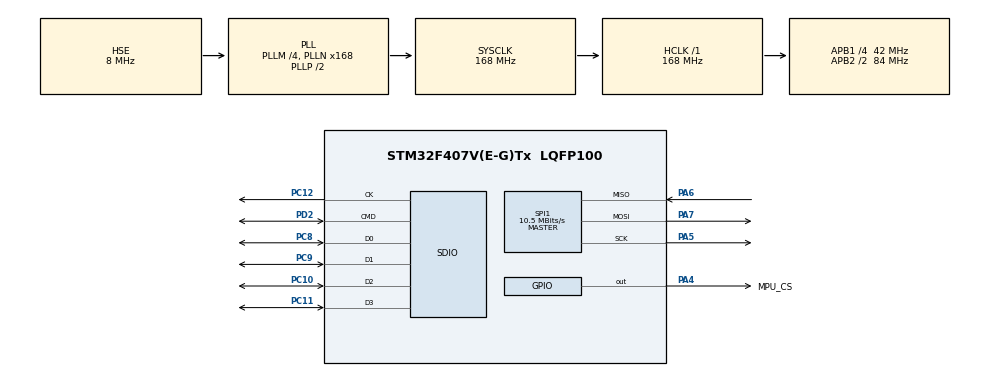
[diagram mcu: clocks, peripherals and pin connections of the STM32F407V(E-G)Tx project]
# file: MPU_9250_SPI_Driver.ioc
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Dma.MEMTOMEM.2.Direction=DMA_MEMORY_TO_MEMORY
Dma.MEMTOMEM.2.FIFOMode=DMA_FIFOMODE_ENABLE
Dma.MEMTOMEM.2.FIFOThreshold=DMA_FIFO_THRESHOLD_FULL
Dma.MEMTOMEM.2.Instance=DMA2_Stream1
Dma.MEMTOMEM.2.MemBurst=DMA_MBURST_SINGLE
Dma.MEMTOMEM.2.MemDataAlignment=DMA_MDATAALIGN_BYTE
Dma.MEMTOMEM.2.MemInc=DMA_MINC_ENABLE
Dma.MEMTOMEM.2.Mode=DMA_NORMAL
Dma.MEMTOMEM.2.PeriphBurst=DMA_PBURST_SINGLE
Dma.MEMTOMEM.2.PeriphDataAlignment=DMA_PDATAALIGN_HALFWORD
Dma.MEMTOMEM.2.PeriphInc=DMA_PINC_ENABLE
Dma.MEMTOMEM.2.Priority=DMA_PRIORITY_MEDIUM
Dma.Request0=SDIO_RX
Dma.Request1=SDIO_TX
Dma.Request2=MEMTOMEM
Dma.Request3=SPI1_RX
Dma.Request4=SPI1_TX
Dma.SDIO_RX.0.Direction=DMA_PERIPH_TO_MEMORY
Dma.SDIO_RX.0.FIFOMode=DMA_FIFOMODE_ENABLE
Dma.SDIO_RX.0.FIFOThreshold=DMA_FIFO_THRESHOLD_FULL
Dma.SDIO_RX.0.Instance=DMA2_Stream3
Dma.SDIO_RX.0.MemBurst=DMA_MBURST_INC4
Dma.SDIO_RX.0.MemDataAlignment=DMA_MDATAALIGN_WORD
Dma.SDIO_RX.0.MemInc=DMA_MINC_ENABLE
Dma.SDIO_RX.0.Mode=DMA_PFCTRL
Dma.SDIO_RX.0.PeriphBurst=DMA_PBURST_INC4
Dma.SDIO_RX.0.PeriphDataAlignment=DMA_PDATAALIGN_WORD
Dma.SDIO_RX.0.PeriphInc=DMA_PINC_DISABLE
Dma.SDIO_RX.0.Priority=DMA_PRIORITY_LOW
Dma.SDIO_TX.1.Direction=DMA_MEMORY_TO_PERIPH
Dma.SDIO_TX.1.FIFOMode=DMA_FIFOMODE_ENABLE
Dma.SDIO_TX.1.FIFOThreshold=DMA_FIFO_THRESHOLD_FULL
Dma.SDIO_TX.1.Instance=DMA2_Stream6
Dma.SDIO_TX.1.MemBurst=DMA_MBURST_INC4
Dma.SDIO_TX.1.MemDataAlignment=DMA_MDATAALIGN_WORD
Dma.SDIO_TX.1.MemInc=DMA_MINC_ENABLE
Dma.SDIO_TX.1.Mode=DMA_PFCTRL
Dma.SDIO_TX.1.PeriphBurst=DMA_PBURST_INC4
Dma.SDIO_TX.1.PeriphDataAlignment=DMA_PDATAALIGN_WORD
Dma.SDIO_TX.1.PeriphInc=DMA_PINC_DISABLE
Dma.SDIO_TX.1.Priority=DMA_PRIORITY_MEDIUM
Dma.SPI1_RX.3.Direction=DMA_PERIPH_TO_MEMORY
Dma.SPI1_RX.3.FIFOMode=DMA_FIFOMODE_ENABLE
Dma.SPI1_RX.3.FIFOThreshold=DMA_FIFO_THRESHOLD_FULL
Dma.SPI1_RX.3.Instance=DMA2_Stream0
Dma.SPI1_RX.3.MemBurst=DMA_MBURST_SINGLE
Dma.SPI1_RX.3.MemDataAlignment=DMA_MDATAALIGN_HALFWORD
Dma.SPI1_RX.3.MemInc=DMA_MINC_ENABLE
Dma.SPI1_RX.3.Mode=DMA_CIRCULAR
Dma.SPI1_RX.3.PeriphBurst=DMA_PBURST_SINGLE
Dma.SPI1_RX.3.PeriphDataAlignment=DMA_PDATAALIGN_HALFWORD
Dma.SPI1_RX.3.PeriphInc=DMA_PINC_DISABLE
Dma.SPI1_RX.3.Priority=DMA_PRIORITY_LOW
Dma.SPI1_TX.4.Direction=DMA_MEMORY_TO_PERIPH
Dma.SPI1_TX.4.FIFOMode=DMA_FIFOMODE_ENABLE
Dma.SPI1_TX.4.FIFOThreshold=DMA_FIFO_THRESHOLD_FULL
Dma.SPI1_TX.4.Instance=DMA2_Stream5
Dma.SPI1_TX.4.MemBurst=DMA_MBURST_SINGLE
Dma.SPI1_TX.4.MemDataAlignment=DMA_MDATAALIGN_HALFWORD
Dma.SPI1_TX.4.MemInc=DMA_MINC_ENABLE
Dma.SPI1_TX.4.Mode=DMA_CIRCULAR
Dma.SPI1_TX.4.PeriphBurst=DMA_PBURST_SINGLE
Dma.SPI1_TX.4.PeriphDataAlignment=DMA_PDATAALIGN_HALFWORD
Dma.SPI1_TX.4.PeriphInc=DMA_PINC_DISABLE
Dma.SPI1_TX.4.Priority=DMA_PRIORITY_LOW
FATFS.USE_DMA_CODE_SD=1
FATFS._MAX_SS=4096
FREERTOS.BinarySemaphores01=DataReady,Dynamic,NULL;ConvCplt,Dynamic,NULL
FREERTOS.Tasks01=MPU_Start,32,1024,MPUStart,Default,NULL,Dynamic,NULL,NULL;LED_Blink,8,128,LEDStart,Default,NULL,Dynamic,NULL,NULL;SD_Log,31,2048,Log_Start,Default,NULL,Dynamic,NULL,NULL
FREERTOS.configENABLE_FPU=1
FREERTOS.configGENERATE_RUN_TIME_STATS=1
FREERTOS.configRECORD_STACK_HIGH_ADDRESS=1
FREERTOS.configUSE_NEWLIB_REENTRANT=1
FREERTOS.configUSE_STATS_FORMATTING_FUNCTIONS=1
Mcu.Family=STM32F4
Mcu.Name=STM32F407V(E-G)Tx
Mcu.Package=LQFP100
NVIC.DMA2_Stream0_IRQn=true\:5\:0\:false\:false\:true\:true\:false\:true
NVIC.DMA2_Stream3_IRQn=true\:5\:0\:false\:false\:true\:true\:false\:true
NVIC.DMA2_Stream5_IRQn=true\:5\:0\:false\:false\:true\:true\:false\:true
NVIC.DMA2_Stream6_IRQn=true\:5\:0\:false\:false\:true\:true\:false\:true
NVIC.PriorityGroup=NVIC_PRIORITYGROUP_4
NVIC.SDIO_IRQn=true\:5\:0\:false\:false\:true\:true\:true\:true
NVIC.SPI1_IRQn=true\:5\:0\:false\:false\:true\:true\:true\:true
NVIC.TIM8_UP_TIM13_IRQn=true\:15\:0\:false\:false\:true\:false\:false\:true
NVIC.TimeBase=TIM8_UP_TIM13_IRQn
NVIC.TimeBaseIP=TIM13
PA13.Mode=Trace_Asynchronous_SW
PA13.Signal=SYS_JTMS-SWDIO
PA14.Mode=Trace_Asynchronous_SW
PA14.Signal=SYS_JTCK-SWCLK
PA4.GPIO_Label=MPU_CS
PA4.GPIO_PuPd=GPIO_PULLUP
PA4.GPIO_Speed=GPIO_SPEED_FREQ_HIGH
PA4.Signal=GPIO_Output
PA5.Mode=Full_Duplex_Master
PA5.Signal=SPI1_SCK
PA6.Mode=Full_Duplex_Master
PA6.Signal=SPI1_MISO
PA7.Mode=Full_Duplex_Master
PA7.Signal=SPI1_MOSI
PB3.Mode=Trace_Asynchronous_SW
PB3.Signal=SYS_JTDO-SWO
PC10.GPIO_PuPd=GPIO_PULLUP
PC10.Mode=SD_4_bits_Wide_bus
PC10.Signal=SDIO_D2
PC11.GPIO_PuPd=GPIO_PULLUP
PC11.Mode=SD_4_bits_Wide_bus
PC11.Signal=SDIO_D3
PC12.Mode=SD_4_bits_Wide_bus
PC12.Signal=SDIO_CK
PC8.GPIO_PuPd=GPIO_PULLUP
PC8.Mode=SD_4_bits_Wide_bus
PC8.Signal=SDIO_D0
PC9.GPIO_PuPd=GPIO_PULLUP
PC9.Mode=SD_4_bits_Wide_bus
PC9.Signal=SDIO_D1
PD2.GPIO_PuPd=GPIO_PULLUP
PD2.Mode=SD_4_bits_Wide_bus
PD2.Signal=SDIO_CMD
PH0-OSC_IN.Mode=HSE-External-Oscillator
PH0-OSC_IN.Signal=RCC_OSC_IN
PH1-OSC_OUT.Mode=HSE-External-Oscillator
PH1-OSC_OUT.Signal=RCC_OSC_OUT
ProjectManager.HeapSize=0x200
ProjectManager.StackSize=0x400
ProjectManager.TargetToolchain=STM32CubeIDE
RCC.48MHZClocksFreq_Value=48000000
RCC.AHBFreq_Value=168000000
RCC.APB1CLKDivider=RCC_HCLK_DIV4
RCC.APB1Freq_Value=42000000
RCC.APB1TimFreq_Value=84000000
RCC.APB2CLKDivider=RCC_HCLK_DIV2
RCC.APB2Freq_Value=84000000
RCC.APB2TimFreq_Value=168000000
RCC.CortexFreq_Value=168000000
RCC.HCLKFreq_Value=168000000
RCC.HSE_VALUE=8000000
RCC.HSI_VALUE=16000000
RCC.LSE_VALUE=32768
RCC.PLLM=4
RCC.PLLN=168
RCC.PLLQ=7
RCC.PLLSourceVirtual=RCC_PLLSOURCE_HSE
RCC.SYSCLKFreq_VALUE=168000000
RCC.SYSCLKSource=RCC_SYSCLKSOURCE_PLLCLK
RCC.VCOOutputFreq_Value=336000000
SPI1.BaudRatePrescaler=SPI_BAUDRATEPRESCALER_8
SPI1.CalculateBaudRate=10.5 MBits/s
SPI1.Direction=SPI_DIRECTION_2LINES
SPI1.Mode=SPI_MODE_MASTER
SPI1.VirtualType=VM_MASTER
VP_FATFS_VS_SDIO.Mode=SDIO
VP_FREERTOS_VS_CMSIS_V2.Mode=CMSIS_V2
VP_SYS_VS_tim13.Mode=TIM13
board=custom

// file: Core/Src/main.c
/* USER CODE BEGIN Header */
/**
 ******************************************************************************
 * @file           : main.c
 * @brief          : Main program body
 ******************************************************************************
 * @attention
 *
 * <h2><center>&copy; Copyright (c) 2021 STMicroelectronics.
 * All rights reserved.</center></h2>
 *
 * This software component is licensed by ST under BSD 3-Clause license,
 * the "License"; You may not use this file except in compliance with the
 * License. You may obtain a copy of the License at:
 *                        opensource.org/licenses/BSD-3-Clause
 *
 ******************************************************************************
 */
/* USER CODE END Header */
#include "main.h"
#include "cmsis_os.h"
#include "fatfs.h"

/* USER CODE BEGIN Includes */
#include "stdio.h"
/* USER CODE END Includes */

/* USER CODE BEGIN PTD */
uint8_t buf[7];
const uint8_t READWRITE_CMD = 0x80; // read operation
int _write(int file, char *ptr, int len) {
	/* Implement your write code here, this is used by puts and printf for example */
	int i = 0;
	for (i = 0; i < len; i++)
		ITM_SendChar((*ptr++));
	return len;
}
/* USER CODE END PTD */

SD_HandleTypeDef hsd;
DMA_HandleTypeDef hdma_sdio_rx;
DMA_HandleTypeDef hdma_sdio_tx;

SPI_HandleTypeDef hspi1;
DMA_HandleTypeDef hdma_spi1_rx;
DMA_HandleTypeDef hdma_spi1_tx;

DMA_HandleTypeDef hdma_memtomem_dma2_stream1;
/* Definitions for MPU_Start */
osThreadId_t MPU_StartHandle;
const osThreadAttr_t MPU_Start_attributes = {
  .name = "MPU_Start",
  .stack_size = 1024 * 4,
  .priority = (osPriority_t) osPriorityAboveNormal,
};
/* Definitions for LED_Blink */
osThreadId_t LED_BlinkHandle;
const osThreadAttr_t LED_Blink_attributes = {
  .name = "LED_Blink",
  .stack_size = 128 * 4,
  .priority = (osPriority_t) osPriorityLow,
};
/* Definitions for SD_Log */
osThreadId_t SD_LogHandle;
const osThreadAttr_t SD_Log_attributes = {
  .name = "SD_Log",
  .stack_size = 2048 * 4,
  .priority = (osPriority_t) osPriorityNormal7,
};
/* Definitions for DataReady */
osSemaphoreId_t DataReadyHandle;
const osSemaphoreAttr_t DataReady_attributes = {
  .name = "DataReady"
};
/* Definitions for ConvCplt */
osSemaphoreId_t ConvCpltHandle;
const osSemaphoreAttr_t ConvCplt_attributes = {
  .name = "ConvCplt"
};

void SystemClock_Config(void);
static void MX_GPIO_Init(void);
static void MX_DMA_Init(void);
static void MX_SDIO_SD_Init(void);
static void MX_SPI1_Init(void);
void MPUStart(void *argument);
void LEDStart(void *argument);
void Log_Start(void *argument);

int main(void)
{

  /* MCU Configuration--------------------------------------------------------*/

  /* Reset of all peripherals, Initializes the Flash interface and the Systick. */
  HAL_Init();

  /* Configure the system clock */
  SystemClock_Config();

  /* Initialize all configured peripherals */
  MX_GPIO_Init();
  MX_DMA_Init();
  MX_SDIO_SD_Init();
  MX_SPI1_Init();
  MX_FATFS_Init();

  /* Init scheduler */
  osKernelInitialize();

  /* Create the semaphores(s) */
  /* creation of DataReady */
  DataReadyHandle = osSemaphoreNew(1, 1, &DataReady_attributes);

  /* creation of ConvCplt */
  ConvCpltHandle = osSemaphoreNew(1, 1, &ConvCplt_attributes);

  /* Create the thread(s) */
  /* creation of MPU_Start */
  MPU_StartHandle = osThreadNew(MPUStart, NULL, &MPU_Start_attributes);

  /* creation of LED_Blink */
  LED_BlinkHandle = osThreadNew(LEDStart, NULL, &LED_Blink_attributes);

  /* creation of SD_Log */
  SD_LogHandle = osThreadNew(Log_Start, NULL, &SD_Log_attributes);

  /* Start scheduler */
  osKernelStart();

  /* We should never get here as control is now taken by the scheduler */
  /* Infinite loop */
	while (1) {

	}
}

void SystemClock_Config(void)
{
  RCC_OscInitTypeDef RCC_OscInitStruct = {0};
  RCC_ClkInitTypeDef RCC_ClkInitStruct = {0};

  /** Configure the main internal regulator output voltage
  */
  __HAL_RCC_PWR_CLK_ENABLE();
  __HAL_PWR_VOLTAGESCALING_CONFIG(PWR_REGULATOR_VOLTAGE_SCALE1);
  /** Initializes the RCC Oscillators according to the specified parameters
  * in the RCC_OscInitTypeDef structure.
  */
  RCC_OscInitStruct.OscillatorType = RCC_OSCILLATORTYPE_HSE;
  RCC_OscInitStruct.HSEState = RCC_HSE_ON;
  RCC_OscInitStruct.PLL.PLLState = RCC_PLL_ON;
  RCC_OscInitStruct.PLL.PLLSource = RCC_PLLSOURCE_HSE;
  RCC_OscInitStruct.PLL.PLLM = 4;
  RCC_OscInitStruct.PLL.PLLN = 168;
  RCC_OscInitStruct.PLL.PLLP = RCC_PLLP_DIV2;
  RCC_OscInitStruct.PLL.PLLQ = 7;
  if (HAL_RCC_OscConfig(&RCC_OscInitStruct) != HAL_OK)
  {
    Error_Handler();
  }
  /** Initializes the CPU, AHB and APB buses clocks
  */
  RCC_ClkInitStruct.ClockType = RCC_CLOCKTYPE_HCLK|RCC_CLOCKTYPE_SYSCLK
                              |RCC_CLOCKTYPE_PCLK1|RCC_CLOCKTYPE_PCLK2;
  RCC_ClkInitStruct.SYSCLKSource = RCC_SYSCLKSOURCE_PLLCLK;
  RCC_ClkInitStruct.AHBCLKDivider = RCC_SYSCLK_DIV1;
  RCC_ClkInitStruct.APB1CLKDivider = RCC_HCLK_DIV4;
  RCC_ClkInitStruct.APB2CLKDivider = RCC_HCLK_DIV2;

  if (HAL_RCC_ClockConfig(&RCC_ClkInitStruct, FLASH_LATENCY_5) != HAL_OK)
  {
    Error_Handler();
  }
}

static void MX_SDIO_SD_Init(void)
{

  hsd.Instance = SDIO;
  hsd.Init.ClockEdge = SDIO_CLOCK_EDGE_RISING;
  hsd.Init.ClockBypass = SDIO_CLOCK_BYPASS_DISABLE;
  hsd.Init.ClockPowerSave = SDIO_CLOCK_POWER_SAVE_DISABLE;
  hsd.Init.BusWide = SDIO_BUS_WIDE_1B;
  hsd.Init.HardwareFlowControl = SDIO_HARDWARE_FLOW_CONTROL_DISABLE;
  hsd.Init.ClockDiv = 0;

}

static void MX_SPI1_Init(void)
{

  /* SPI1 parameter configuration*/
  hspi1.Instance = SPI1;
  hspi1.Init.Mode = SPI_MODE_MASTER;
  hspi1.Init.Direction = SPI_DIRECTION_2LINES;
  hspi1.Init.DataSize = SPI_DATASIZE_8BIT;
  hspi1.Init.CLKPolarity = SPI_POLARITY_LOW;
  hspi1.Init.CLKPhase = SPI_PHASE_1EDGE;
  hspi1.Init.NSS = SPI_NSS_SOFT;
  hspi1.Init.BaudRatePrescaler = SPI_BAUDRATEPRESCALER_8;
  hspi1.Init.FirstBit = SPI_FIRSTBIT_MSB;
  hspi1.Init.TIMode = SPI_TIMODE_DISABLE;
  hspi1.Init.CRCCalculation = SPI_CRCCALCULATION_DISABLE;
  hspi1.Init.CRCPolynomial = 10;
  if (HAL_SPI_Init(&hspi1) != HAL_OK)
  {
    Error_Handler();
  }

}

static void MX_DMA_Init(void)
{

  /* DMA controller clock enable */
  __HAL_RCC_DMA2_CLK_ENABLE();

  /* Configure DMA request hdma_memtomem_dma2_stream1 on DMA2_Stream1 */
  hdma_memtomem_dma2_stream1.Instance = DMA2_Stream1;
  hdma_memtomem_dma2_stream1.Init.Channel = DMA_CHANNEL_0;
  hdma_memtomem_dma2_stream1.Init.Direction = DMA_MEMORY_TO_MEMORY;
  hdma_memtomem_dma2_stream1.Init.PeriphInc = DMA_PINC_ENABLE;
  hdma_memtomem_dma2_stream1.Init.MemInc = DMA_MINC_ENABLE;
  hdma_memtomem_dma2_stream1.Init.PeriphDataAlignment = DMA_PDATAALIGN_HALFWORD;
  hdma_memtomem_dma2_stream1.Init.MemDataAlignment = DMA_MDATAALIGN_BYTE;
  hdma_memtomem_dma2_stream1.Init.Mode = DMA_NORMAL;
  hdma_memtomem_dma2_stream1.Init.Priority = DMA_PRIORITY_MEDIUM;
  hdma_memtomem_dma2_stream1.Init.FIFOMode = DMA_FIFOMODE_ENABLE;
  hdma_memtomem_dma2_stream1.Init.FIFOThreshold = DMA_FIFO_THRESHOLD_FULL;
  hdma_memtomem_dma2_stream1.Init.MemBurst = DMA_MBURST_SINGLE;
  hdma_memtomem_dma2_stream1.Init.PeriphBurst = DMA_PBURST_SINGLE;
  if (HAL_DMA_Init(&hdma_memtomem_dma2_stream1) != HAL_OK)
  {
    Error_Handler( );
  }

  /* DMA interrupt init */
  /* DMA2_Stream0_IRQn interrupt configuration */
  HAL_NVIC_SetPriority(DMA2_Stream0_IRQn, 5, 0);
  HAL_NVIC_EnableIRQ(DMA2_Stream0_IRQn);
  /* DMA2_Stream3_IRQn interrupt configuration */
  HAL_NVIC_SetPriority(DMA2_Stream3_IRQn, 5, 0);
  HAL_NVIC_EnableIRQ(DMA2_Stream3_IRQn);
  /* DMA2_Stream5_IRQn interrupt configuration */
  HAL_NVIC_SetPriority(DMA2_Stream5_IRQn, 5, 0);
  HAL_NVIC_EnableIRQ(DMA2_Stream5_IRQn);
  /* DMA2_Stream6_IRQn interrupt configuration */
  HAL_NVIC_SetPriority(DMA2_Stream6_IRQn, 5, 0);
  HAL_NVIC_EnableIRQ(DMA2_Stream6_IRQn);

}

static void MX_GPIO_Init(void)
{
  GPIO_InitTypeDef GPIO_InitStruct = {0};

  /* GPIO Ports Clock Enable */
  __HAL_RCC_GPIOH_CLK_ENABLE();
  __HAL_RCC_GPIOA_CLK_ENABLE();
  __HAL_RCC_GPIOC_CLK_ENABLE();
  __HAL_RCC_GPIOD_CLK_ENABLE();
  __HAL_RCC_GPIOB_CLK_ENABLE();

  /*Configure GPIO pin Output Level */
  HAL_GPIO_WritePin(MPU_CS_GPIO_Port, MPU_CS_Pin, GPIO_PIN_RESET);

  /*Configure GPIO pin : MPU_CS_Pin */
  GPIO_InitStruct.Pin = MPU_CS_Pin;
  GPIO_InitStruct.Mode = GPIO_MODE_OUTPUT_PP;
  GPIO_InitStruct.Pull = GPIO_PULLUP;
  GPIO_InitStruct.Speed = GPIO_SPEED_FREQ_HIGH;
  HAL_GPIO_Init(MPU_CS_GPIO_Port, &GPIO_InitStruct);

}

void MPUStart(void *argument)
{
  /* USER CODE BEGIN 5 */
	MX_DMA_Init();
	MX_SPI1_Init();
	HAL_GPIO_WritePin(GPIOA, MPU_CS_Pin, GPIO_PIN_SET);
	/* Infinite loop */
	for (;;) {
		uint8_t data= 0x42|READWRITE_CMD;
		HAL_GPIO_WritePin(GPIOA, MPU_CS_Pin, GPIO_PIN_RESET);
		HAL_SPI_Transmit(&hspi1, &data ,1, HAL_MAX_DELAY);
		HAL_SPI_Receive(&hspi1, (uint8_t*)buf,1, HAL_MAX_DELAY);
		HAL_GPIO_WritePin(GPIOA, MPU_CS_Pin, GPIO_PIN_SET);
		printf("selesai");
		osDelay(100);
	}
  /* USER CODE END 5 */
}

void LEDStart(void *argument)
{
	for (;;) {
		osDelay(1);
	}
}

void Log_Start(void *argument)
{
	for (;;) {
		osDelay(1);
	}
}

void HAL_TIM_PeriodElapsedCallback(TIM_HandleTypeDef *htim)
{
  if (htim->Instance == TIM13) {
    HAL_IncTick();
  }
}

void Error_Handler(void)
{
	__disable_irq();
	while (1) {
	}
}

/************************ (C) COPYRIGHT STMicroelectronics *****END OF FILE****/
